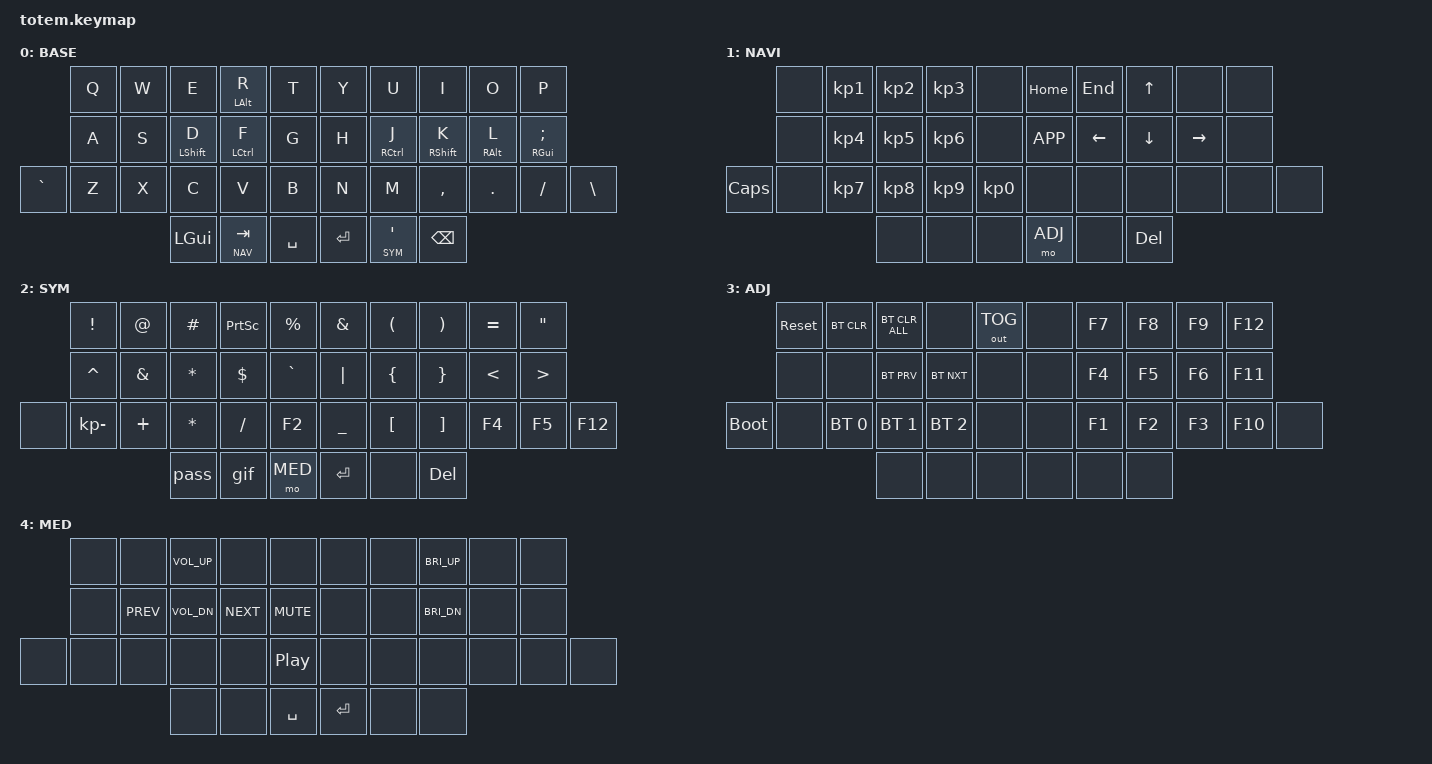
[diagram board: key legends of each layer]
//
//                                                        ▀▀▀▀▀     ▀▀▀▀▀          ▀▀█▀▀
//                                                        ▄▀▀▀▄  ▄  ▄▀▀▀▄  ▄  ▄▀▀▀▄  █  ▄▀▀▀▄
//                                                        █   █  █  █   █  █  █   █  █  █   █
//                                                         ▀▀▀   █   ▀▀▀   █   ▀▀▀   ▀   ▀▀▀
//                                                               █      ▄▄▄█▄▄▄    █   █  
//                                                               ▀      █  █  █     █▄█
//                                                             ▀▀▀▀▀    █  █  █      ▀
//                                                                      ▀  ▀  ▀
//
// ▄▄▄▄▄▄▄▄▄▄▄▄▄▄▄▄▄▄▄▄▄▄▄▄▄▄▄▄▄▄▄▄▄▄▄▄▄▄▄▄▄▄▄▄▄▄▄▄▄▄▄▄▄▄▄▄▄▄▄▄▄▄▄▄▄▄▄▄▄▄▄▄▄▄▄▄▄▄▄▄▄▄▄▄▄▄▄▄▄▄▄▄▄▄▄▄▄▄▄▄▄▄▄▄▄▄▄▄▄▄▄▄▄▄▄▄▄▄▄▄▄▄▄▄▄▄▄▄▄▄▄▄▄▄▄▄▄▄▄▄▄▄▄▄▄▄▄▄▄
       

#include <behaviors.dtsi>
#include <dt-bindings/zmk/keys.h>
#include <dt-bindings/zmk/bt.h>
#include <dt-bindings/zmk/outputs.h>

#define BASE 0
#define NAV  1
#define SYM  2
#define ADJ  3
#define MED  4

&mt {
  quick-tap-ms = <100>;
  global-quick-tap;
  flavor = "tap-preferred";
  tapping-term-ms = <200>;
};

/ {
    combos {
            compatible = "zmk,combos";
            combo_esc {
                timeout-ms = <50>;
                key-positions = <0 1>;
                bindings = <&kp ESC>;
            };

            combo_copy {
                timeout-ms = <50>;
                key-positions = <23 24>;   // C + V
                bindings = <&kp LC(V)>;
            };

            combo_paste {
                timeout-ms = <50>;
                key-positions = <21 22>;   // Z + X
                bindings = <&kp LC(C)>;
            };
    };

    macros {
        gif: gif {
            label = "giphy";
            compatible = "zmk,behavior-macro";
            #binding-cells = <0>;
            bindings
                = <&macro_press &kp LSHFT>
                , <&macro_tap &kp N2>
                , <&macro_release &kp LSHFT>
                , <&macro_tap &kp G &kp I &kp F>
                ;
        };
        pass: pass {
            label = "Pass";
            compatible = "zmk,behavior-macro";
            #binding-cells = <0>;
            bindings
                = <&macro_press &kp LSHFT>
                , <&macro_tap &kp S>
                , <&macro_release &kp LSHFT>
                , <&macro_tap &kp H &kp A &kp D &kp O &kp W &kp N4 &kp N2>
                , <&macro_press &kp LSHFT>
                , <&macro_tap &kp N2>
                , <&macro_release &kp LSHFT>
                ;
        };
    };

        keymap {
                compatible = "zmk,keymap";
// ▄▄▄▄▄▄▄▄▄▄▄▄▄▄▄▄▄▄▄▄▄▄▄▄▄▄▄▄▄▄▄▄▄▄▄▄▄▄▄▄▄▄▄▄▄▄▄▄▄▄▄▄▄▄▄▄▄▄▄▄▄▄▄▄▄▄▄▄▄▄▄▄▄▄▄▄▄▄▄▄▄▄▄▄▄▄▄▄▄▄▄▄▄▄▄▄▄▄▄▄▄▄▄▄▄▄▄▄▄▄▄▄▄▄▄▄▄▄▄▄▄▄▄▄▄▄▄▄▄▄▄▄▄▄▄▄▄▄▄▄▄▄▄▄▄▄▄▄▄

                base_layer {
// ┏━━━━━━━━━━━━━━━━━━━━━━━━━━━━━━━━━━━━━━━┓
label= "BASE"                              ;
// ┗━━━━━━━━━━━━━━━━━━━━━━━━━━━━━━━━━━━━━━━┛
//             ┏━━━━━━━━━━━┳━━━━━━━━━━━┳━━━━━━━━━━━┳━━━━━━━━━━━┳━━━━━━━━━━━┓   ┏━━━━━━━━━━━┳━━━━━━━━━━━┳━━━━━━━━━━━┳━━━━━━━━━━━┳━━━━━━━━━━━┓
//             ┃     Q     ┃     W     ┃     E     ┃     R     ┃     T     ┃   ┃     Y     ┃     U     ┃     I     ┃     O     ┃     P     ┃
//             ┣━━━━━━━━━━━╋━━━━━━━━━━━╋━━━━━━━━━━━╋━━━━━━━━━━━╋━━━━━━━━━━━┫   ┣━━━━━━━━━━━╋━━━━━━━━━━━╋━━━━━━━━━━━╋━━━━━━━━━━━╋━━━━━━━━━━━┫
//             ┃     A     ┃     S     ┃     D     ┃     F     ┃     G     ┃   ┃     H     ┃     J     ┃     K     ┃     L     ┃     ;     ┃
// ┏━━━━━━━━━━━╋━━━━━━━━━━━╋━━━━━━━━━━━╋━━━━━━━━━━━╋━━━━━━━━━━━╋━━━━━━━━━━━┫   ┣━━━━━━━━━━━╋━━━━━━━━━━━╋━━━━━━━━━━━╋━━━━━━━━━━━╋━━━━━━━━━━━╋━━━━━━━━━━━┓
// ┃     `     ┃     Z     ┃     X     ┃     C     ┃     V     ┃     B     ┃   ┃     N     ┃     M     ┃     ,     ┃     .     ┃     /     ┃     \     ┃
// ┗━━━━━━━━━━━┻━━━━━━━━━━━┻━━━━━━━━━━━╋━━━━━━━━━━━╋━━━━━━━━━━━╋━━━━━━━━━━━┫   ┣━━━━━━━━━━━╋━━━━━━━━━━━╋━━━━━━━━━━━╋━━━━━━━━━━━┻━━━━━━━━━━━┻━━━━━━━━━━━┛
//                                     ┃    WIN    ┃    TAB    ┃    SPC    ┃   ┃   ENTER   ┃     '     ┃    BSPC   ┃
//                                     ┗━━━━━━━━━━━┻━━━━━━━━━━━┻━━━━━━━━━━━┛   ┗━━━━━━━━━━━┻━━━━━━━━━━━┻━━━━━━━━━━━┛
 bindings = <
// ╷           ╷           ╷           ╷           ╷           ╷           ╷   ╷           ╷           ╷           ╷           ╷           ╷           ╷

                &kp Q       &kp W       &kp E       &mt LALT R   &kp T           &kp Y       &kp U       &kp I       &kp O       &kp P
                &kp A       &kp S     &mt LSHFT D  &mt LCTRL F   &kp G           &kp H       &mt RCTRL J &mt RSHFT K &mt RALT L  &mt RGUI SEMI
    &kp GRAVE   &kp Z       &kp X       &kp C       &kp V        &kp B           &kp N       &kp M       &kp COMMA   &kp DOT     &kp FSLH    &kp BSLH
                                        &kp LGUI    &lt NAV TAB  &kp SPACE       &kp RET     &lt SYM APOS  &kp BSPC
                        >;
                };

// ▄▄▄▄▄▄▄▄▄▄▄▄▄▄▄▄▄▄▄▄▄▄▄▄▄▄▄▄▄▄▄▄▄▄▄▄▄▄▄▄▄▄▄▄▄▄▄▄▄▄▄▄▄▄▄▄▄▄▄▄▄▄▄▄▄▄▄▄▄▄▄▄▄▄▄▄▄▄▄▄▄▄▄▄▄▄▄▄▄▄▄▄▄▄▄▄▄▄▄▄▄▄▄▄▄▄▄▄▄▄▄▄▄▄▄▄▄▄▄▄▄▄▄▄▄▄▄▄▄▄▄▄▄▄▄▄▄▄▄▄▄▄▄▄▄▄▄▄▄


                nav_layer {
// ┏━━━━━━━━━━━━━━━━━━━━━━━━━━━━━━━━━━━━━━━┓
label= "NAVI"                              ;
// ┗━━━━━━━━━━━━━━━━━━━━━━━━━━━━━━━━━━━━━━━┛
//             ┏━━━━━━━━━━━┳━━━━━━━━━━━┳━━━━━━━━━━━┳━━━━━━━━━━━┳━━━━━━━━━━━┓   ┏━━━━━━━━━━━┳━━━━━━━━━━━┳━━━━━━━━━━━┳━━━━━━━━━━━┳━━━━━━━━━━━┓
//             ┃           ┃     1     ┃      2    ┃     3     ┃           ┃   ┃     HOME  ┃    END    ┃     UP    ┃           ┃           ┃
//             ┣━━━━━━━━━━━╋━━━━━━━━━━━╋━━━━━━━━━━━╋━━━━━━━━━━━╋━━━━━━━━━━━┫   ┣━━━━━━━━━━━╋━━━━━━━━━━━╋━━━━━━━━━━━╋━━━━━━━━━━━╋━━━━━━━━━━━┫
//             ┃           ┃     4     ┃     5     ┃     6     ┃           ┃   ┃    MENU   ┃   LEFT    ┃   DOWN    ┃   RIGHT   ┃           ┃
// ┏━━━━━━━━━━━╋━━━━━━━━━━━╋━━━━━━━━━━━╋━━━━━━━━━━━╋━━━━━━━━━━━╋━━━━━━━━━━━┫   ┣━━━━━━━━━━━╋━━━━━━━━━━━╋━━━━━━━━━━━╋━━━━━━━━━━━╋━━━━━━━━━━━╋━━━━━━━━━━━┓
// ┃    CAPS   ┃           ┃     7     ┃     8     ┃     9     ┃     0     ┃   ┃           ┃           ┃           ┃           ┃           ┃           ┃
// ┗━━━━━━━━━━━┻━━━━━━━━━━━┻━━━━━━━━━━━╋━━━━━━━━━━━╋━━━━━━━━━━━╋━━━━━━━━━━━┫   ┣━━━━━━━━━━━╋━━━━━━━━━━━╋━━━━━━━━━━━╋━━━━━━━━━━━┻━━━━━━━━━━━┻━━━━━━━━━━━┛
//                                     ┃           ┃           ┃           ┃   ┃    ADJ    ┃           ┃    DEL    ┃
//                                     ┗━━━━━━━━━━━┻━━━━━━━━━━━┻━━━━━━━━━━━┛   ┗━━━━━━━━━━━┻━━━━━━━━━━━┻━━━━━━━━━━━┛
 bindings = <
// ╷           ╷           ╷           ╷           ╷           ╷           ╷   ╷           ╷           ╷           ╷           ╷           ╷           ╷

                &none     &kp KP_N1   &kp KP_N2    &kp KP_N3   &none        &kp HOME    &kp END     &kp UP     &none       &none
                &none     &kp KP_N4   &kp KP_N5    &kp KP_N6   &none        &kp K_APP   &kp LEFT    &kp DOWN   &kp RIGHT   &none
    &kp CAPS    &none     &kp KP_N7   &kp KP_N8    &kp KP_N9   &kp KP_N0    &none       &none       &none      &none       &none    &none
                                      &none        &none       &none        &mo ADJ     &none       &kp DEL
                        >;
                };

// ▄▄▄▄▄▄▄▄▄▄▄▄▄▄▄▄▄▄▄▄▄▄▄▄▄▄▄▄▄▄▄▄▄▄▄▄▄▄▄▄▄▄▄▄▄▄▄▄▄▄▄▄▄▄▄▄▄▄▄▄▄▄▄▄▄▄▄▄▄▄▄▄▄▄▄▄▄▄▄▄▄▄▄▄▄▄▄▄▄▄▄▄▄▄▄▄▄▄▄▄▄▄▄▄▄▄▄▄▄▄▄▄▄▄▄▄▄▄▄▄▄▄▄▄▄▄▄▄▄▄▄▄▄▄▄▄▄▄▄▄▄▄▄▄▄▄▄▄▄


                sym_layer {
// ┏━━━━━━━━━━━━━━━━━━━━━━━━━━━━━━━━━━━━━━━┓
label= "SYM"                               ;
// ┗━━━━━━━━━━━━━━━━━━━━━━━━━━━━━━━━━━━━━━━┛
//             ┏━━━━━━━━━━━┳━━━━━━━━━━━┳━━━━━━━━━━━┳━━━━━━━━━━━┳━━━━━━━━━━━┓   ┏━━━━━━━━━━━┳━━━━━━━━━━━┳━━━━━━━━━━━┳━━━━━━━━━━━┳━━━━━━━━━━━┓
//             ┃     !     ┃     @     ┃     #     ┃   Print   ┃     %     ┃   ┃     &     ┃     (     ┃     )     ┃     =     ┃     "     ┃
//             ┣━━━━━━━━━━━╋━━━━━━━━━━━╋━━━━━━━━━━━╋━━━━━━━━━━━╋━━━━━━━━━━━┫   ┣━━━━━━━━━━━╋━━━━━━━━━━━╋━━━━━━━━━━━╋━━━━━━━━━━━╋━━━━━━━━━━━┫
//             ┃     ^     ┃     &     ┃     *     ┃     $     ┃     ` ~   ┃   ┃     |     ┃     {     ┃     }     ┃     <     ┃     >     ┃
// ┏━━━━━━━━━━━╋━━━━━━━━━━━╋━━━━━━━━━━━╋━━━━━━━━━━━╋━━━━━━━━━━━╋━━━━━━━━━━━┫   ┣━━━━━━━━━━━╋━━━━━━━━━━━╋━━━━━━━━━━━╋━━━━━━━━━━━╋━━━━━━━━━━━╋━━━━━━━━━━━┓
// ┃           ┃     -     ┃     +     ┃     *     ┃     /     ┃     F2    ┃   ┃     _     ┃     [     ┃     ]     ┃     F4    ┃     F5    ┃     F12   ┃
// ┗━━━━━━━━━━━┻━━━━━━━━━━━┻━━━━━━━━━━━╋━━━━━━━━━━━╋━━━━━━━━━━━╋━━━━━━━━━━━┫   ┣━━━━━━━━━━━╋━━━━━━━━━━━╋━━━━━━━━━━━╋━━━━━━━━━━━┻━━━━━━━━━━━┻━━━━━━━━━━━┛
//                                     ┃    Pass   ┃    GIF    ┃    MED    ┃   ┃    ENT    ┃           ┃    DEL    ┃
//                                     ┗━━━━━━━━━━━┻━━━━━━━━━━━┻━━━━━━━━━━━┛   ┗━━━━━━━━━━━┻━━━━━━━━━━━┻━━━━━━━━━━━┛
 bindings = <
// ╷           ╷           ╷           ╷           ╷           ╷           ╷   ╷           ╷           ╷           ╷           ╷           ╷           ╷

                &kp EXCL    &kp AT      &kp HASH    &kp PSCRN   &kp PRCNT       &kp AMPS    &kp LPAR    &kp RPAR   &kp EQUAL     &kp DQT
                &kp CARET   &kp AMPS    &kp STAR    &kp DLLR    &kp GRAVE       &kp PIPE    &kp LBRC    &kp RBRC   &kp LT        &kp GT 
    &none      &kp KP_MINUS &kp PLUS    &kp STAR    &kp FSLH    &kp F2          &kp UNDER   &kp LBKT    &kp RBKT   &kp F4        &kp F5     &kp F12
                                        &pass       &gif        &mo MED         &kp RET     &none       &kp DEL
                        >;
                };

// ▄▄▄▄▄▄▄▄▄▄▄▄▄▄▄▄▄▄▄▄▄▄▄▄▄▄▄▄▄▄▄▄▄▄▄▄▄▄▄▄▄▄▄▄▄▄▄▄▄▄▄▄▄▄▄▄▄▄▄▄▄▄▄▄▄▄▄▄▄▄▄▄▄▄▄▄▄▄▄▄▄▄▄▄▄▄▄▄▄▄▄▄▄▄▄▄▄▄▄▄▄▄▄▄▄▄▄▄▄▄▄▄▄▄▄▄▄▄▄▄▄▄▄▄▄▄▄▄▄▄▄▄▄▄▄▄▄▄▄▄▄▄▄▄▄▄▄▄▄


                adjust_layer {
// ┏━━━━━━━━━━━━━━━━━━━━━━━━━━━━━━━━━━━━━━━┓
label= "ADJ"                               ;
// ┗━━━━━━━━━━━━━━━━━━━━━━━━━━━━━━━━━━━━━━━┛
//             ┏━━━━━━━━━━━┳━━━━━━━━━━━┳━━━━━━━━━━━┳━━━━━━━━━━━┳━━━━━━━━━━━┓   ┏━━━━━━━━━━━┳━━━━━━━━━━━┳━━━━━━━━━━━┳━━━━━━━━━━━┳━━━━━━━━━━━┓
//             ┃   RESET   ┃ BT CLEAR  ┃ BT CLR All┃           ┃  OUT TOG  ┃   ┃           ┃    F7     ┃    F8     ┃    F9     ┃    F12    ┃
//             ┣━━━━━━━━━━━╋━━━━━━━━━━━╋━━━━━━━━━━━╋━━━━━━━━━━━╋━━━━━━━━━━━┫   ┣━━━━━━━━━━━╋━━━━━━━━━━━╋━━━━━━━━━━━╋━━━━━━━━━━━╋━━━━━━━━━━━┫
//             ┃           ┃           ┃  BT PREV  ┃  BT NEXT  ┃           ┃   ┃           ┃    F4     ┃    F5     ┃    F6     ┃    F11    ┃
// ┏━━━━━━━━━━━╋━━━━━━━━━━━╋━━━━━━━━━━━╋━━━━━━━━━━━╋━━━━━━━━━━━╋━━━━━━━━━━━┫   ┣━━━━━━━━━━━╋━━━━━━━━━━━╋━━━━━━━━━━━╋━━━━━━━━━━━╋━━━━━━━━━━━╋━━━━━━━━━━━┓
// ┃ BOOTLOAD  ┃           ┃    BT 0   ┃    BT 1   ┃    BT 2   ┃           ┃   ┃           ┃    F1     ┃    F2     ┃    F3     ┃    F10    ┃           ┃
// ┗━━━━━━━━━━━┻━━━━━━━━━━━┻━━━━━━━━━━━╋━━━━━━━━━━━╋━━━━━━━━━━━╋━━━━━━━━━━━┫   ┣━━━━━━━━━━━╋━━━━━━━━━━━╋━━━━━━━━━━━╋━━━━━━━━━━━┻━━━━━━━━━━━┻━━━━━━━━━━━┛
//                                     ┃           ┃           ┃           ┃   ┃           ┃           ┃           ┃
//                                     ┗━━━━━━━━━━━┻━━━━━━━━━━━┻━━━━━━━━━━━┛   ┗━━━━━━━━━━━┻━━━━━━━━━━━┻━━━━━━━━━━━┛
 bindings = <
// ╷           ╷           ╷           ╷           ╷           ╷           ╷   ╷           ╷           ╷           ╷           ╷           ╷           ╷

                &sys_reset  &bt BT_CLR  &bt BT_CLR_ALL  &none    &out OUT_TOG    &none       &kp F7      &kp F8      &kp F9      &kp F12
                &none      &none       &bt BT_PRV  &bt BT_NXT   &none           &none       &kp F4      &kp F5      &kp F6      &kp F11
    &bootloader &none     &bt BT_SEL 0  &bt BT_SEL 1  &bt BT_SEL 2  &none        &none       &kp F1      &kp F2      &kp F3      &kp F10     &none
                                        &none       &none        &none           &none       &none      &none
                        >;
                }; 

                        media_layer {
// ┏━━━━━━━━━━━━━━━━━━━━━━━━━━━━━━━━━━━━━━━┓
label= "MED"                               ;
// ┗━━━━━━━━━━━━━━━━━━━━━━━━━━━━━━━━━━━━━━━┛
//             ┏━━━━━━━━━━━┳━━━━━━━━━━━┳━━━━━━━━━━━┳━━━━━━━━━━━┳━━━━━━━━━━━┓   ┏━━━━━━━━━━━┳━━━━━━━━━━━┳━━━━━━━━━━━┳━━━━━━━━━━━┳━━━━━━━━━━━┓
//             ┃           ┃           ┃   VOL +   ┃           ┃           ┃   ┃           ┃           ┃ bright +  ┃           ┃           ┃
//             ┣━━━━━━━━━━━╋━━━━━━━━━━━╋━━━━━━━━━━━╋━━━━━━━━━━━╋━━━━━━━━━━━┫   ┣━━━━━━━━━━━╋━━━━━━━━━━━╋━━━━━━━━━━━╋━━━━━━━━━━━╋━━━━━━━━━━━┫
//             ┃           ┃   prev    ┃   VOL -   ┃    next   ┃   mute    ┃   ┃           ┃           ┃ bright -  ┃           ┃           ┃
// ┏━━━━━━━━━━━╋━━━━━━━━━━━╋━━━━━━━━━━━╋━━━━━━━━━━━╋━━━━━━━━━━━╋━━━━━━━━━━━┫   ┣━━━━━━━━━━━╋━━━━━━━━━━━╋━━━━━━━━━━━╋━━━━━━━━━━━╋━━━━━━━━━━━╋━━━━━━━━━━━┓
// ┃           ┃           ┃           ┃           ┃           ┃   play    ┃   ┃           ┃           ┃           ┃           ┃           ┃           ┃
// ┗━━━━━━━━━━━┻━━━━━━━━━━━┻━━━━━━━━━━━╋━━━━━━━━━━━╋━━━━━━━━━━━╋━━━━━━━━━━━┫   ┣━━━━━━━━━━━╋━━━━━━━━━━━╋━━━━━━━━━━━╋━━━━━━━━━━━┻━━━━━━━━━━━┻━━━━━━━━━━━┛
//                                     ┃           ┃           ┃   space   ┃   ┃   enter   ┃           ┃           ┃
//                                     ┗━━━━━━━━━━━┻━━━━━━━━━━━┻━━━━━━━━━━━┛   ┗━━━━━━━━━━━┻━━━━━━━━━━━┻━━━━━━━━━━━┛
 bindings = <
// ╷           ╷           ╷           ╷           ╷           ╷           ╷   ╷           ╷           ╷           ╷           ╷           ╷           ╷

                &none       &none       &kp C_VOL_UP &none        &none           &none       &none     &kp C_BRI_UP  &none       &none
                &none       &kp C_PREV  &kp C_VOL_DN &kp C_NEXT   &kp C_MUTE      &none       &none     &kp C_BRI_DN  &none       &none  
    &none       &none       &none       &none      &none        &kp C_PP          &none       &none       &none       &none       &none        &none
                                        &none      &none        &kp SPACE         &kp RET     &none       &none
                        >;
                };
        };
};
